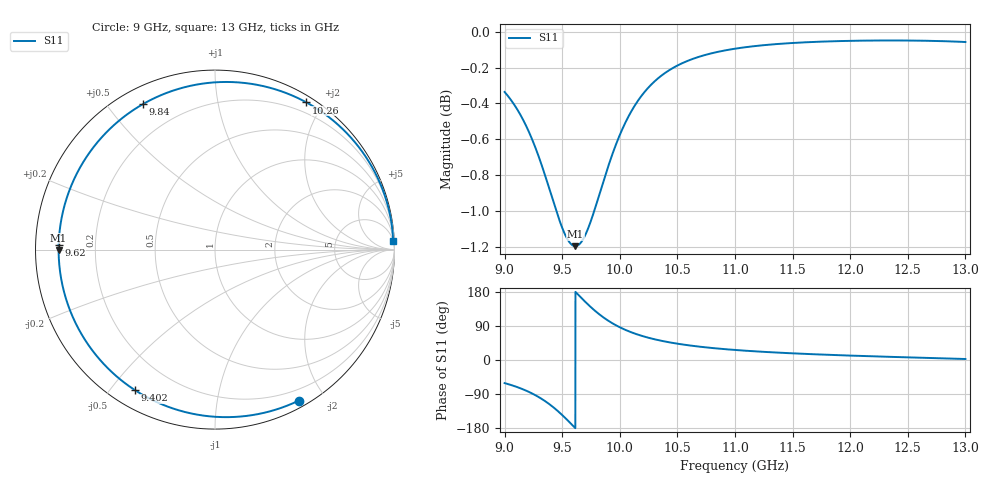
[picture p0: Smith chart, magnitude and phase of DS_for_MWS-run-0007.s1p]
! TOUCHSTONE file generated by CST DESIGN STUDIO
! Date and time: Tue Feb  4 18:31:36 2025
! Project name: C:\Work\MatlabApps\UnitCellOptimizationMatlab\CST\unitcell.cst
! Tree item: Tasks\Sweep1\SPara1\S-Parameters
! Header version: 2024
! Port assignment regex: !\s*Touchstone port\s*([0-9]+)\s*=\s*(CST MWS port|CST DES external port|CST DES block port)\s*(.+)\s* \(\"(.*)\"\)(\s*mode\s*([0-9]+))?.*
! Touchstone port assignment:
! Touchstone port 1 = CST DES external port 1 ("")
# GHz S MA R 50
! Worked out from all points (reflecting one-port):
!   4001 points, 9 GHz to 13 GHz, reference 50 ohm
!   lowest |S11| = -1.2 dB at 9.614 GHz (marker M1), VSWR 14.55, Z = 3.44 - j0.0404 ohm
!   phase of S11 starts at -61 deg and turns -296 deg over the sweep
!   S11 on the Smith chart (normalised r, x): 9 GHz: 0.08, -1.70; 9.402 GHz: 0.07, -0.58; 9.62 GHz: 0.07, +0.02; 9.84 GHz: 0.07, +0.62; 10.26 GHz: 0.07, +1.80; 13 GHz: 6, +43
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9  0.9621 -61.0
9.052  0.9575 -65.6
9.124  0.9497 -73.1
9.186  0.9415 -80.7
9.247  0.9319 -89.6
9.33  0.9163 -104.2
9.402  0.9011 -119.7
9.451  0.8908 -131.8
9.5  0.8817 -145.3
9.559  0.8739 -162.8
9.614  0.8714 -179.9
9.62  0.8714 178.2
9.676  0.8747 160.8
9.738  0.8836 142.5
9.789  0.8936 128.7
9.84  0.9046 116.4
9.914  0.9202 100.9
10  0.9359 86.4
10.122  0.9528 70.6
10.256  0.9654 58.1
10.37  0.9727 50.1
10.5  0.9785 43.0
10.72  0.9848 34.2
11  0.9892 26.5
11.5  0.9928 17.6
12  0.9942 11.6
12.5  0.9944 7.0
13  0.9934 2.6
